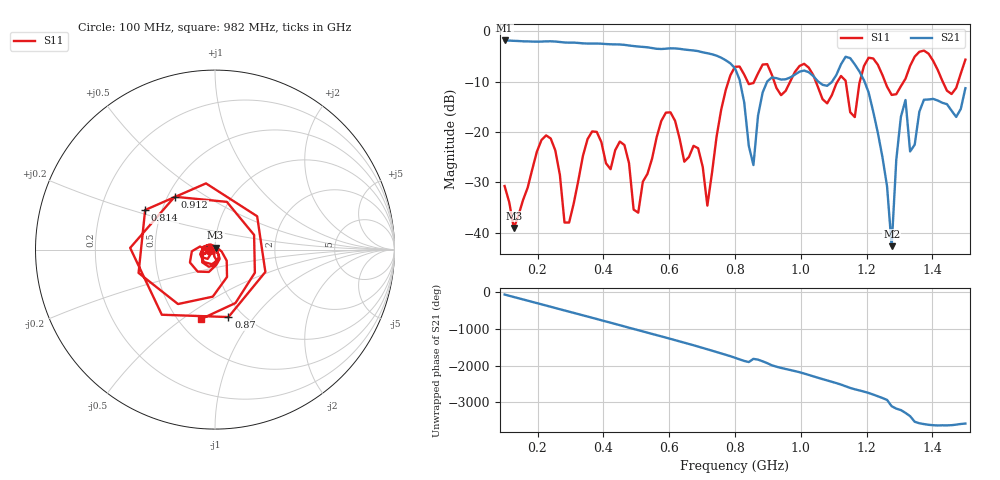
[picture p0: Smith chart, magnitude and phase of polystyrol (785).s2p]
! NanoVNA-App
! Date: 2025-09-25 15:35:59
! Start: 100MHz Stop: 1,5GHz Points: 101
! S-Parameter data: F S11 S21 S12 S22
# Hz S RI R 50
!  Frequency  S11_Real  S11_Imag  S21_Real  S21_Imag  S12_Real  S12_Imag  S22_Real  S22_Imag
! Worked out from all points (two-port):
!   101 points, 100 MHz to 1.5 GHz, reference 50 ohm
!   highest |S21| = -1.80 dB at 100 MHz (marker M1); lowest = -42.7 dB at 1.276 GHz (marker M2)
!   |S21| within 3 dB of the highest: start of sweep to 742.9 MHz
!   lowest |S11| = -39.1 dB at 128 MHz (marker M3), VSWR 1.02, Z = 50.3 + j1.07 ohm
!   |S11| at or under -10 dB: start of sweep to 779.8 MHz; 1.046 GHz to 1.111 GHz (65.55 MHz wide, 6.08 % of centre); 1.256 GHz to 1.312 GHz (56.4 MHz wide, 4.39 % of centre) (the widest 3 of 7)
!   S12 and S22 are empty: the file has one direction only
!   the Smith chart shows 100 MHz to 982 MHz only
!   S11 on the Smith chart (normalised r, x): 100 MHz: 0.94, -0.01; 814 MHz: 0.40, +0.22; 870 MHz: 0.86, -0.75; 912 MHz: 0.54, +0.37; 982 MHz: 0.64, -0.59
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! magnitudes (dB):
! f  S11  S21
! 100 MHz  -30.7  -1.8
! 128 MHz  -39.1  -1.9
! 212 MHz  -21.6  -2.0
! 282 MHz  -38.0  -2.2
! 338 MHz  -24.7  -2.4
! 464 MHz  -22.6  -2.7
! 506 MHz  -36.0  -3.0
! 576 MHz  -17.8  -3.5
! 716 MHz  -34.6  -4.3
! 800 MHz  -7.0  -7.3
! 814 MHz  -7.0  -9.6
! 856 MHz  -10.3  -26.5
! 870 MHz  -8.3  -16.7
! 912 MHz  -8.6  -9.2
! 982 MHz  -8.1  -8.6
! 1.038 GHz  -8.7  -8.9
! 1.164 GHz  -17.0  -6.6
! 1.192 GHz  -6.9  -9.7
! 1.276 GHz  -12.6  -42.7
! 1.318 GHz  -9.4  -13.6
! 1.332 GHz  -6.9  -23.8
! 1.5 GHz  -5.6  -11.3
